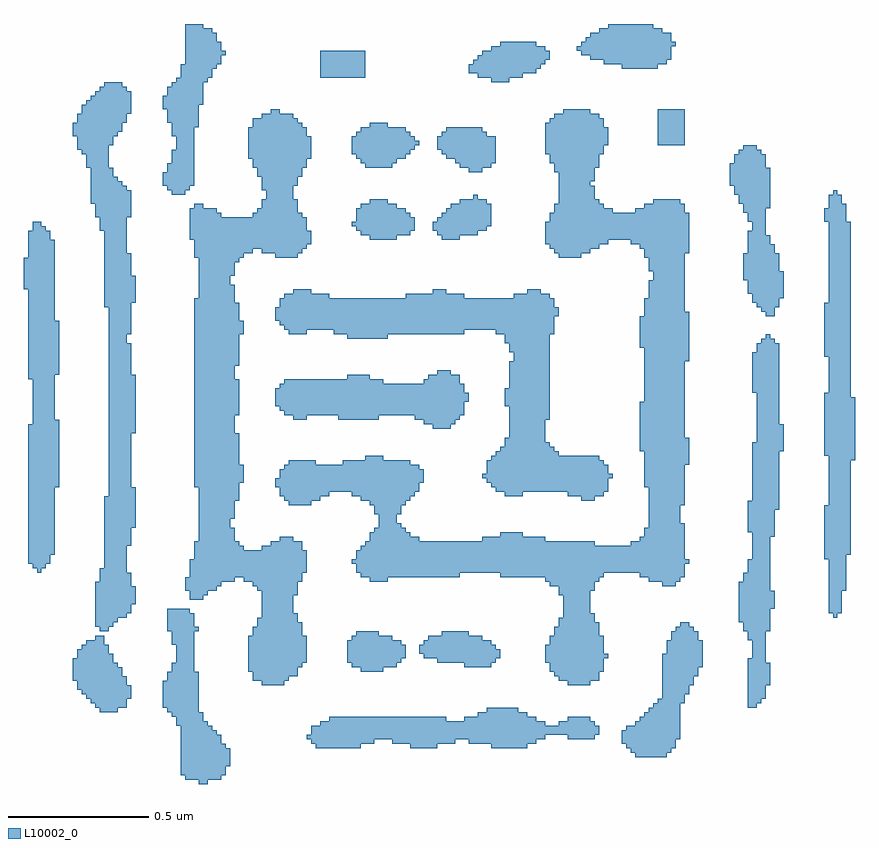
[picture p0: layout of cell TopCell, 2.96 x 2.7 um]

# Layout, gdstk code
import gdstk
lib = gdstk.Library(unit=1e-6, precision=1e-09)
def R(c, l, rs):  # rectangles x0, y0, x1, y1
    for r in rs: c.add(gdstk.rectangle(r[:2], r[2:], *l))
def A(c, l, x, y, w, h, nx, ny, dx, dy):  # array of equal rectangles
    R(c, l, [(x+i*dx, y+j*dy, x+i*dx+w, y+j*dy+h) for i in range(nx) for j in range(ny)])
L10002_0 = (10002, 0)

topcell = lib.new_cell('TopCell')
A(topcell, L10002_0, 1.392, 1.712, 0.016, 0.095, 1, 3, 0, 0.304)
R(topcell, L10002_0, [(1.104,0.688,1.119,0.943), (1.119,0.688,1.135,0.911), (1.056,0.704,1.071,1.311), (1.071,0.704,1.087,1.295), (1.087,0.704,1.103,1.087), (1.103,0.704,1.104,0.943), (1.135,0.704,1.151,0.895), (1.151,0.704,1.167,0.879), (1.167,0.704,1.183,0.863), (1.04,0.72,1.056,1.311), (1.183,0.72,1.199,0.831), (1.199,0.752,1.215,0.815), (2.656,0.784,2.767,0.911), (2.64,0.8,2.656,0.895), (2.767,0.8,2.783,1.151), (1.52,0.816,1.679,0.895), (1.856,0.816,1.951,0.927), (2.144,0.816,2.239,0.959), (2.239,0.816,2.271,0.943), (2.624,0.816,2.64,0.895), (2.783,0.816,2.799,1.199), (1.504,0.832,1.52,0.895), (1.679,0.832,1.727,0.927), (1.792,0.832,1.856,0.927), (1.951,0.832,1.983,0.927), (1.983,0.832,2.015,0.911), (2.064,0.832,2.144,0.927), (2.271,0.832,2.303,0.927), (2.608,0.832,2.624,0.879), (1.488,0.848,1.504,0.863), (1.727,0.848,1.792,0.927), (2.015,0.848,2.064,0.911), (2.303,0.848,2.335,0.911), (2.416,0.848,2.495,0.927), (2.495,0.848,2.511,0.911), (2.799,0.848,2.815,1.231), (2.335,0.864,2.416,0.895), (2.511,0.864,2.527,0.895), (1.536,0.895,1.679,0.911), (2.384,0.895,2.416,0.911), (1.024,0.896,1.04,1.311), (1.568,0.911,1.679,0.927), (2.048,0.911,2.064,0.927), (2.672,0.911,2.767,0.927), (2.096,0.927,2.144,0.943), (2.688,0.927,2.767,0.943), (1.008,0.928,1.024,1.119), (2.128,0.943,2.144,0.959), (2.704,0.943,2.767,0.959), (0.752,0.944,0.767,1.215), (0.767,0.944,0.783,1.183), (0.783,0.944,0.799,1.151), (0.799,0.944,0.815,1.119), (0.992,0.944,1.008,1.087), (2.72,0.959,2.767,0.975), (0.736,0.96,0.752,1.215), (0.815,0.96,0.831,1.103), (0.831,0.96,0.847,1.071), (0.976,0.96,0.992,1.055), (3.056,0.96,3.087,1.135), (2.736,0.975,2.767,0.991), (0.72,0.976,0.736,1.199), (2.815,0.976,2.831,1.247), (3.087,0.976,3.103,1.903), (2.752,0.991,2.767,1.151), (0.704,0.992,0.72,1.199), (0.847,0.992,0.863,1.039), (3.103,0.992,3.119,2.255), (0.688,1.008,0.704,1.183), (2.831,1.008,2.847,1.263), (0.672,1.024,0.688,1.167), (1.328,1.04,1.407,1.535), (2.416,1.04,2.495,1.551), (2.847,1.04,2.863,1.247), (3.119,1.04,3.135,1.119), (0.656,1.056,0.672,1.135), (1.296,1.056,1.328,1.247), (1.407,1.056,1.423,1.567), (2.384,1.056,2.416,1.279), (2.495,1.056,2.511,1.295), (2.511,1.056,2.527,1.263), (1.423,1.072,1.439,1.567), (1.439,1.072,1.455,1.295), (2.368,1.072,2.384,1.247), (2.863,1.072,2.879,1.231), (1.28,1.088,1.296,1.215), (1.68,1.088,1.743,1.231), (1.743,1.088,1.759,1.215), (2.352,1.088,2.368,1.215), (2.527,1.088,2.543,1.215), (1.455,1.104,1.471,1.263), (1.648,1.104,1.68,1.215), (1.759,1.104,1.791,1.215), (1.791,1.104,1.807,1.199), (2.048,1.104,2.063,1.231), (2.063,1.104,2.111,1.215), (2.111,1.104,2.143,1.199), (2.879,1.104,2.895,1.199), (1.471,1.12,1.487,1.215), (1.632,1.12,1.648,1.199), (1.807,1.12,1.823,1.199), (1.952,1.12,2.048,1.215), (2.143,1.12,2.159,1.183), (2.336,1.12,2.352,1.183), (3.072,1.135,3.087,1.903), (1.823,1.136,1.839,1.183), (1.904,1.136,1.952,1.199), (2.159,1.136,2.175,1.167), (2.543,1.136,2.559,1.151), (2.768,1.151,2.783,1.199), (1.888,1.152,1.904,1.183), (1.008,1.184,1.024,1.311), (1.92,1.199,1.952,1.215), (2.784,1.199,2.799,1.231), (3.056,1.2,3.072,1.487), (1.664,1.215,1.68,1.231), (1.968,1.215,2.048,1.231), (2.8,1.231,2.815,1.247), (0.752,1.232,0.783,1.455), (0.992,1.232,1.008,1.311), (1.087,1.232,1.103,1.247), (3.04,1.232,3.056,1.439), (3.119,1.232,3.135,2.271), (1.312,1.247,1.328,1.279), (2.816,1.247,2.831,1.263), (0.736,1.248,0.752,1.407), (0.783,1.248,0.799,1.711), (0.799,1.264,0.815,2.847), (3.024,1.264,3.04,1.407), (2.4,1.279,2.416,1.551), (0.815,1.28,0.831,2.831), (0.831,1.28,0.847,2.815), (3.36,1.28,3.375,2.799), (0.847,1.296,0.863,1.439), (3.344,1.296,3.36,2.783), (3.375,1.296,3.391,2.783), (3.135,1.312,3.151,1.375), (0.863,1.328,0.879,1.391), (1.072,1.344,1.119,1.487), (1.119,1.36,1.135,2.735), (1.439,1.36,1.455,1.551), (2.384,1.36,2.4,1.551), (1.056,1.376,1.072,1.423), (1.135,1.376,1.167,2.735), (1.312,1.376,1.328,1.519), (2.495,1.376,2.511,1.551), (3.391,1.376,3.407,2.751), (1.167,1.392,1.183,2.719), (1.296,1.392,1.312,1.519), (2.352,1.392,2.384,1.551), (2.752,1.392,2.799,2.767), (1.183,1.408,1.215,2.703), (1.215,1.408,1.231,1.599), (1.264,1.408,1.296,1.519), (1.455,1.408,1.471,1.551), (1.712,1.408,1.775,1.583), (2.336,1.408,2.352,1.551), (2.511,1.408,2.527,1.535), (2.704,1.408,2.752,2.479), (2.799,1.408,2.815,2.767), (1.231,1.424,1.247,1.551), (1.247,1.424,1.263,1.535), (1.263,1.424,1.264,1.519), (1.68,1.424,1.712,1.535), (1.775,1.424,1.807,1.839), (1.807,1.424,1.823,1.615), (1.823,1.424,1.839,1.599), (1.839,1.424,1.855,1.583), (1.855,1.424,1.887,1.567), (1.887,1.424,2.031,1.551), (2.176,1.424,2.255,1.583), (2.255,1.424,2.335,1.567), (2.335,1.424,2.336,1.551), (2.527,1.424,2.543,1.535), (2.672,1.424,2.704,1.567), (2.815,1.424,2.831,1.615), (0.528,1.44,0.543,2.687), (1.471,1.44,1.487,1.519), (1.664,1.44,1.68,1.519), (2.031,1.44,2.176,1.551), (2.543,1.44,2.672,1.535), (0.768,1.455,0.783,1.711), (0.512,1.456,0.528,2.687), (0.543,1.456,0.559,2.671), (0.496,1.472,0.512,1.967), (0.559,1.472,0.575,2.655), (1.648,1.472,1.664,1.487), (2.831,1.472,2.847,1.487), (1.088,1.487,1.119,1.551), (3.328,1.488,3.344,1.679), (0.575,1.504,0.591,2.623), (3.407,1.504,3.423,2.687), (1.36,1.535,1.407,1.551), (1.696,1.535,1.712,1.551), (2.64,1.535,2.672,1.551), (0.847,1.536,0.863,2.255), (1.104,1.551,1.119,2.751), (1.392,1.551,1.407,1.567), (2.112,1.551,2.176,1.567), (2.688,1.567,2.704,1.599), (3.135,1.568,3.151,2.271), (1.728,1.583,1.775,1.599), (3.056,1.584,3.072,1.695), (1.744,1.599,1.759,1.855), (1.759,1.599,1.775,1.839), (0.863,1.6,0.879,1.743), (1.215,1.632,1.231,2.463), (1.728,1.648,1.744,1.855), (1.807,1.648,1.823,1.839), (3.151,1.664,3.167,2.255), (1.424,1.68,1.503,1.839), (1.712,1.68,1.728,1.855), (1.823,1.68,1.839,1.839), (2.815,1.68,2.831,2.751), (1.231,1.696,1.247,1.935), (1.408,1.696,1.424,1.823), (1.503,1.696,1.519,1.839), (1.519,1.696,1.535,1.823), (1.68,1.696,1.712,1.839), (1.839,1.696,1.855,1.839), (2.464,1.696,2.511,1.855), (0.784,1.711,0.799,2.879), (1.535,1.712,1.567,1.823), (1.648,1.712,1.68,1.839), (1.855,1.712,1.871,1.823), (2.192,1.712,2.255,1.919), (2.416,1.712,2.464,1.855), (2.511,1.712,2.527,1.855), (2.527,1.712,2.543,1.839), (1.567,1.728,1.648,1.823), (1.871,1.728,1.887,1.823), (2.16,1.728,2.192,1.871), (2.255,1.728,2.335,2.431), (2.335,1.728,2.351,1.903), (2.351,1.728,2.367,1.887), (2.367,1.728,2.383,1.871), (2.383,1.728,2.416,1.855), (2.543,1.728,2.559,1.823), (0.591,1.744,0.607,1.983), (1.088,1.744,1.104,2.415), (1.376,1.744,1.392,1.775), (2.144,1.744,2.16,1.855), (2.688,1.744,2.704,2.415), (1.247,1.76,1.263,1.823), (1.887,1.76,1.903,1.807), (2.128,1.76,2.144,1.839), (2.112,1.776,2.128,1.791), (2.559,1.776,2.575,1.791), (1.616,1.823,1.648,1.839), (2.831,1.824,2.847,1.919), (1.696,1.839,1.712,1.855), (3.423,1.84,3.439,2.063), (3.328,1.856,3.344,2.079), (2.176,1.871,2.192,1.887), (2.672,1.872,2.688,2.047), (3.167,1.872,3.183,1.967), (3.088,1.903,3.103,2.255), (2.208,1.919,2.255,2.191), (0.863,1.936,0.879,2.143), (1.936,1.952,1.999,2.143), (1.904,1.968,1.936,2.127), (1.999,1.968,2.015,2.143), (1.44,1.984,1.487,2.127), (1.6,1.984,1.743,2.127), (1.872,1.984,1.904,2.111), (2.015,1.984,2.031,2.143), (2.335,1.984,2.351,2.431), (1.231,2,1.247,2.127), (1.408,2,1.44,2.127), (1.487,2,1.6,2.127), (1.743,2,1.759,2.127), (1.759,2,1.872,2.111), (2.031,2,2.047,2.111), (1.376,2.032,1.392,2.095), (2.192,2.032,2.208,2.095), (2.047,2.048,2.063,2.079), (3.072,2.08,3.088,2.223), (1.632,2.127,1.711,2.143), (1.92,2.127,1.936,2.143), (0.496,2.128,0.512,2.655), (1.952,2.143,1.999,2.159), (0.591,2.144,0.607,2.335), (1.231,2.176,1.247,2.399), (2.224,2.191,2.255,2.431), (2.831,2.192,2.847,2.367), (3.328,2.208,3.344,2.399), (2.208,2.224,2.224,2.415), (2.672,2.24,2.688,2.351), (3.104,2.255,3.119,2.271), (2.192,2.256,2.208,2.415), (3.12,2.271,3.135,2.287), (1.632,2.272,1.775,2.415), (0.847,2.288,0.863,2.575), (1.247,2.288,1.263,2.335), (1.424,2.288,1.487,2.431), (1.584,2.288,1.632,2.415), (1.775,2.288,2.047,2.415), (2.16,2.288,2.192,2.415), (2.351,2.288,2.367,2.415), (1.408,2.304,1.424,2.431), (1.487,2.304,1.503,2.447), (1.503,2.304,1.567,2.431), (1.567,2.304,1.584,2.415), (2.047,2.304,2.16,2.415), (1.376,2.336,1.392,2.383), (2.367,2.352,2.383,2.383), (3.12,2.352,3.135,2.639), (3.135,2.352,3.151,2.607), (3.104,2.368,3.119,2.927), (3.119,2.368,3.12,2.639), (0.768,2.384,0.783,3.183), (0.783,2.384,0.784,2.879), (3.088,2.384,3.103,2.943), (3.103,2.384,3.104,2.927), (3.151,2.384,3.167,2.575), (0.863,2.4,0.879,2.495), (3.072,2.4,3.087,2.959), (3.087,2.4,3.088,2.943), (1.84,2.415,2.047,2.431), (3.167,2.416,3.183,2.511), (1.44,2.431,1.487,2.447), (1.936,2.431,1.983,2.447), (2.272,2.431,2.319,2.447), (3.056,2.432,3.072,2.655), (0.48,2.448,0.496,2.559), (2.72,2.479,2.752,2.767), (3.04,2.48,3.056,2.575), (1.215,2.496,1.231,2.703), (2.704,2.512,2.72,2.751), (1.231,2.544,1.247,2.703), (1.088,2.56,1.104,2.751), (1.247,2.56,1.263,2.703), (1.376,2.56,1.391,3.087), (1.391,2.56,1.439,3.071), (1.439,2.56,1.455,2.767), (2.384,2.56,2.463,3.071), (2.688,2.56,2.704,2.751), (1.263,2.576,1.295,2.703), (1.328,2.576,1.376,2.767), (1.455,2.576,1.471,2.719), (2.368,2.576,2.384,2.751), (2.463,2.576,2.495,3.087), (2.831,2.576,2.847,2.719), (1.295,2.592,1.328,2.703), (1.471,2.592,1.487,2.703), (2.352,2.592,2.368,2.719), (2.495,2.592,2.511,2.815), (2.511,2.592,2.527,2.767), (2.672,2.592,2.688,2.735), (1.487,2.608,1.503,2.655), (2.336,2.608,2.352,2.687), (2.527,2.608,2.543,2.751), (2.543,2.608,2.559,2.735), (2.64,2.608,2.672,2.719), (1.072,2.624,1.088,2.735), (1.712,2.624,1.775,2.767), (1.775,2.624,1.807,2.751), (1.968,2.624,2.031,2.719), (2.559,2.624,2.575,2.735), (2.575,2.624,2.64,2.719), (1.68,2.64,1.712,2.751), (1.807,2.64,1.839,2.735), (1.839,2.64,1.855,2.719), (1.952,2.64,1.968,2.703), (2.031,2.64,2.095,2.751), (0.752,2.656,0.768,3.167), (1.664,2.656,1.68,2.735), (1.855,2.656,1.871,2.703), (1.936,2.656,1.952,2.687), (2.095,2.656,2.127,2.767), (1.648,2.672,1.664,2.687), (2.127,2.672,2.143,2.751), (3.056,2.688,3.072,2.959), (3.328,2.688,3.344,2.735), (1.296,2.703,1.328,2.719), (0.736,2.704,0.752,3.151), (0.847,2.704,0.863,2.799), (1.312,2.719,1.328,2.735), (1.984,2.719,2.031,2.735), (2.656,2.719,2.672,2.735), (3.04,2.72,3.056,2.959), (2,2.735,2.031,2.751), (3.119,2.736,3.135,2.879), (2.032,2.751,2.095,2.767), (0.72,2.752,0.736,3.135), (3.024,2.752,3.04,2.943), (1.344,2.767,1.376,3.071), (2.08,2.767,2.095,2.783), (1.008,2.784,1.055,2.943), (3.008,2.784,3.024,2.927), (0.992,2.8,1.008,2.895), (1.055,2.8,1.071,3.247), (1.328,2.8,1.344,3.071), (0.976,2.816,0.992,2.863), (1.071,2.816,1.087,3.391), (1.439,2.816,1.455,3.055), (2.992,2.816,3.008,2.895), (2.495,2.832,2.511,3.071), (1.312,2.848,1.328,3.055), (1.455,2.848,1.471,3.039), (2.064,2.864,2.111,3.023), (2.368,2.864,2.384,3.071), (0.704,2.88,0.72,3.119), (1.296,2.88,1.312,3.055), (1.471,2.88,1.487,3.023), (1.696,2.88,1.791,3.023), (2.032,2.88,2.064,3.023), (2.111,2.88,2.127,3.007), (2.127,2.88,2.143,2.991), (2.511,2.88,2.527,3.071), (1.68,2.896,1.696,3.023), (1.791,2.896,1.807,3.023), (2.016,2.896,2.032,3.023), (2.143,2.896,2.159,2.991), (2.352,2.896,2.368,3.055), (1.28,2.912,1.296,3.023), (1.487,2.912,1.503,2.991), (1.664,2.912,1.68,3.007), (1.807,2.912,1.839,3.023), (1.984,2.912,2.016,3.023), (0.688,2.928,0.704,3.103), (1.648,2.928,1.664,2.991), (1.839,2.928,1.855,3.007), (1.968,2.928,1.984,3.007), (2.336,2.928,2.352,3.039), (2.527,2.928,2.543,3.055), (1.024,2.943,1.055,3.199), (0.672,2.944,0.688,3.071), (1.855,2.944,1.871,2.991), (1.952,2.944,1.968,2.991), (0.783,2.96,0.799,3.183), (1.871,2.96,1.887,2.975), (2.543,2.96,2.559,3.023), (2.736,2.96,2.831,3.087), (0.656,2.992,0.672,3.039), (0.799,2.992,0.815,3.183), (1.008,2.992,1.024,3.183), (0.815,3.008,0.831,3.183), (1.712,3.023,1.775,3.039), (1.087,3.024,1.103,3.391), (0.831,3.04,0.847,3.167), (0.992,3.04,1.008,3.167), (1.36,3.071,1.376,3.087), (2.4,3.071,2.463,3.087), (0.847,3.072,0.863,3.151), (0.976,3.088,0.992,3.135), (1.103,3.104,1.119,3.391), (1.119,3.184,1.135,3.375), (2.144,3.184,2.207,3.311), (1.04,3.199,1.055,3.247), (1.135,3.2,1.151,3.375), (1.536,3.2,1.695,3.295), (2.096,3.2,2.144,3.279), (2.207,3.2,2.255,3.327), (2.064,3.216,2.096,3.247), (2.255,3.216,2.303,3.327), (1.151,3.232,1.167,3.359), (2.303,3.232,2.319,3.311), (2.608,3.232,2.719,3.391), (2.719,3.232,2.735,3.375), (1.056,3.247,1.071,3.391), (2.08,3.247,2.096,3.263), (1.167,3.248,1.183,3.327), (2.319,3.248,2.335,3.311), (2.544,3.248,2.608,3.375), (2.735,3.248,2.751,3.375), (2.751,3.248,2.767,3.359), (2.335,3.264,2.351,3.295), (2.496,3.264,2.544,3.359), (2.767,3.264,2.783,3.359), (2.112,3.279,2.144,3.295), (1.183,3.28,1.199,3.295), (2.464,3.28,2.496,3.327), (2.448,3.296,2.464,3.311), (2.176,3.311,2.207,3.327), (2.783,3.312,2.799,3.327), (2.48,3.327,2.496,3.343), (2.528,3.359,2.544,3.375), (2.56,3.375,2.608,3.391)])

lib.write_gds('TopCell.gds')
